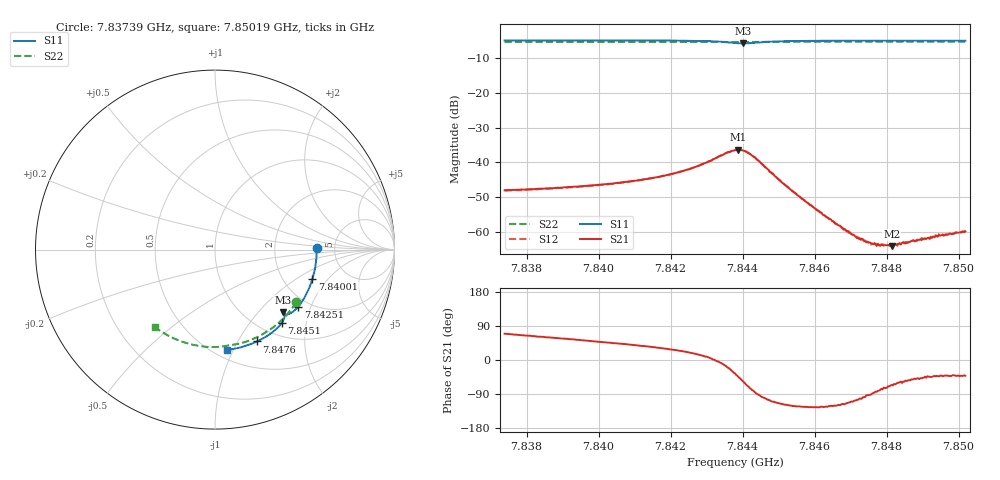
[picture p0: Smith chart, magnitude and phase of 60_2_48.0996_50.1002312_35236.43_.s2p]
#  HZ  S  RI  R  50.00
! Rohde & Schwarz Vector Network Analyzer
! Rohde-Schwarz,ZNB20-2Port,1311601062101988,3.16
! Created: UTC 12/23/2023, 3:40:40 AM
! freq[Hz]  re:S11  im:S11  re:S21  im:S21  re:S12  im:S12  re:S22  im:S22
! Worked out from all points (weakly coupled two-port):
!   401 points, 7.83739 GHz to 7.85019 GHz, reference 50 ohm
!   highest |S21| = -36.34 dB at 7.84389 GHz (marker M1); lowest = -64.0 dB at 7.84814 GHz (marker M2)
!   lowest |S11| = -5.8 dB at 7.84401 GHz (marker M3), VSWR 3.12, Z = 72 - j68.6 ohm
!   |S11| at or under -10 dB: nowhere
!   |S22| runs from -5.4 to -5.3 dB; largest |S21 - S12| = 0.00036
!   S11 on the Smith chart (normalised r, x): 7.83739 GHz: 3.61, +0.10; 7.84001 GHz: 2.88, -1.39; 7.84251 GHz: 1.76, -1.63; 7.8451 GHz: 1.24, -1.46; 7.8476 GHz: 0.81, -1.21; 7.85019 GHz: 0.58, -0.95
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7.83739e9  0.5665 0.00908  0.0014 0.00374  0.00143 0.00365  0.4529 -0.2938
7.839534e9  0.5514 -0.1327  0.00278 0.0036  0.00278 0.00357  0.3553 -0.4073
7.840014e9  0.5428 -0.1639  0.0032 0.00355  0.00315 0.00353  0.3294 -0.4288
7.841678e9  0.4975 -0.2687  0.00528 0.00334  0.00524 0.00334  0.23 -0.4901
7.84251e9  0.4632 -0.3183  0.0075 0.00273  0.00752 0.00274  0.1759 -0.5122
7.84331e9  0.4141 -0.3578  0.012 -0.000812  0.0119 -0.000669  0.1214 -0.5267
7.84379e9  0.3797 -0.3574  0.0123 -0.00874  0.0122 -0.00885  0.0893 -0.5318
7.843886e9  0.377 -0.3537  0.0107 -0.0108  0.0108 -0.0107  0.0832 -0.5325
7.844014e9  0.3771 -0.35  0.00831 -0.0124  0.00811 -0.0124  0.0752 -0.5338
7.844207e9  0.3828 -0.3505  0.00352 -0.0128  0.00358 -0.0127  0.063 -0.5359
7.844399e9  0.3876 -0.3594  0.000152 -0.0111  0.000194 -0.0111  0.0504 -0.5382
7.845103e9  0.3725 -0.4075  -0.00227 -0.00459  -0.00227 -0.00462  0.000928 -0.5429
7.845935e9  0.3312 -0.4513  -0.00132 -0.00194  -0.00136 -0.00193  -0.0577 -0.5406
7.846767e9  0.2842 -0.4852  -0.000502 -0.00103  -0.000508 -0.00103  -0.1156 -0.5319
7.847183e9  0.2595 -0.4993  -0.000213 -0.000787  -0.000237 -0.000827  -0.1442 -0.5252
7.847599e9  0.2344 -0.5117  1.38e-05 -0.000687  7.54e-06 -0.000679  -0.1721 -0.5168
7.847791e9  0.2226 -0.517  0.000106 -0.000649  0.000134 -0.000635  -0.1848 -0.5127
7.848079e9  0.2047 -0.5246  0.000225 -0.000596  0.000193 -0.000615  -0.2039 -0.5055
7.848143e9  0.2006 -0.5262  0.000257 -0.000573  0.00024 -0.000638  -0.208 -0.5038
7.848367e9  0.1866 -0.5313  0.00036 -0.000588  0.000334 -0.000601  -0.2226 -0.4978
7.849391e9  0.1209 -0.5499  0.000661 -0.000595  0.000641 -0.000589  -0.2862 -0.4647
7.850191e9  0.0682 -0.5584  0.000763 -0.000678  0.000758 -0.000685  -0.3327 -0.4332
